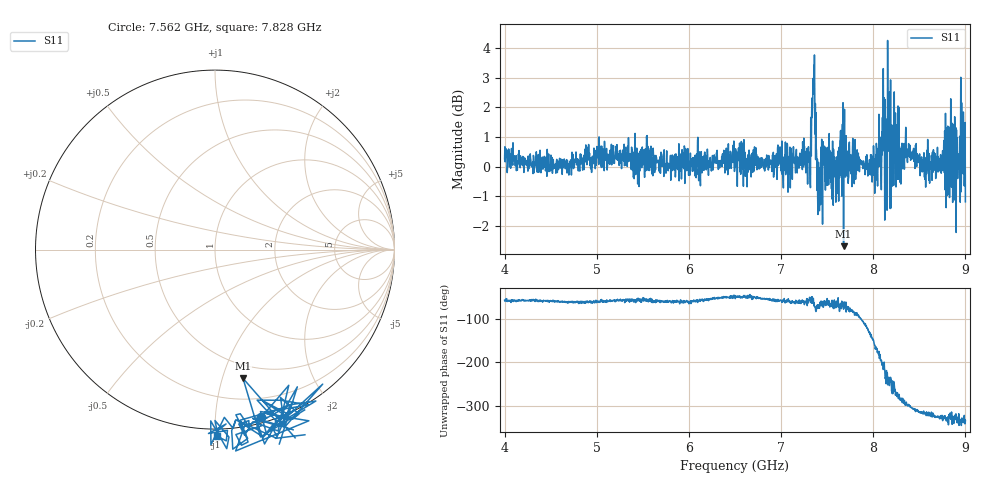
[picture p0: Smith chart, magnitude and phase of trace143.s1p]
! Created with skrf 1.8.0 (http://scikit-rf.org).
# Hz S RI R 50.0
!freq ReS11 ImS11
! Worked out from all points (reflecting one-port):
!   1601 points, 4 GHz to 9 GHz, reference 50 ohm
!   lowest |S11| = -2.7 dB at 7.678 GHz (marker M1), VSWR 6.52, Z = 18.8 - j58.5 ohm
!   phase of S11 starts at -57 deg and turns -278 deg over the sweep
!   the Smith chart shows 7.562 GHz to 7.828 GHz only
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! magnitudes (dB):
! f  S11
! 4 GHz  0.3
! 4.625 GHz  -0.3
! 5.25 GHz  0.1
! 5.875 GHz  0.1
! 6.5 GHz  0.3
! 7.125 GHz  0.2
! 7.294 GHz  0.4
! 7.347 GHz  3.0
! 7.369 GHz  1.1
! 7.391 GHz  -0.8
! 7.412 GHz  -0.2
! 7.478 GHz  0.4
! 7.609 GHz  0.2
! 7.65 GHz  0.8
! 7.678 GHz  -2.7
! 7.75 GHz  -0.1
! 8.034 GHz  0.8
! 8.097 GHz  0.4
! 8.128 GHz  2.3
! 8.153 GHz  -0.9
! 8.209 GHz  0.6
! 8.253 GHz  1.1
! 8.375 GHz  0.5
! 8.588 GHz  0.0
! 8.819 GHz  0.1
! 8.919 GHz  -0.1
! 8.972 GHz  0.4
! 9 GHz  -1.2
